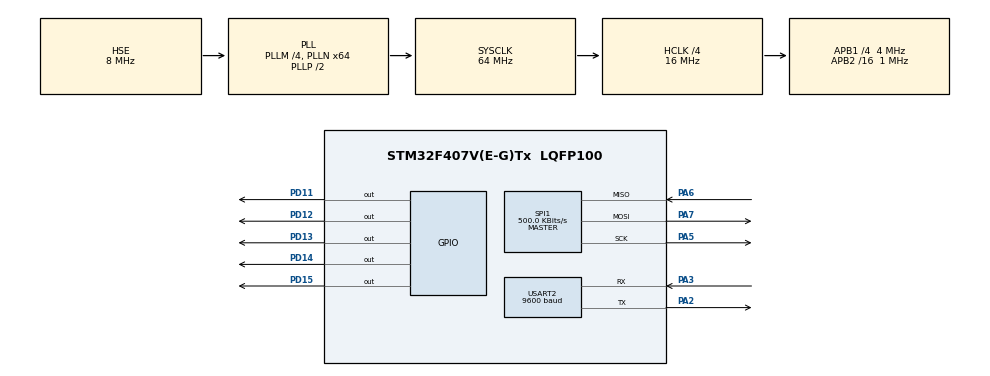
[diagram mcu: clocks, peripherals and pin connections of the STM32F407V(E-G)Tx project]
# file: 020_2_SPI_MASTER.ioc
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Mcu.Family=STM32F4
RCC.PLLSourceVirtual=RCC_PLLSOURCE_HSE
PA6.Mode=Full_Duplex_Master
PH0-OSC_IN.Signal=RCC_OSC_IN
RCC.CortexFreq_Value=16000000
PA7.Mode=Full_Duplex_Master
SPI1.VirtualType=VM_MASTER
RCC.APB1CLKDivider=RCC_HCLK_DIV4
NVIC.USART2_IRQn=true\:0\:0\:false\:false\:true\:true\:true
USART2.BaudRate=9600
RCC.SYSCLKSource=RCC_SYSCLKSOURCE_PLLCLK
ProjectManager.StackSize=0x400
PD13.Signal=GPIO_Output
PA3.Mode=Asynchronous
SPI1.CLKPolarity=SPI_POLARITY_HIGH
ProjectManager.TargetToolchain=STM32CubeIDE
SPI1.Direction=SPI_DIRECTION_2LINES
RCC.HCLKFreq_Value=16000000
RCC.APB2TimFreq_Value=2000000
SPI1.CalculateBaudRate=500.0 KBits/s
RCC.LSE_VALUE=32768
RCC.AHBFreq_Value=16000000
PH0-OSC_IN.Mode=HSE-External-Oscillator
PA5.Signal=SPI1_SCK
RCC.HSE_VALUE=8000000
board=custom
RCC.VCOOutputFreq_Value=128000000
RCC.APB2Freq_Value=1000000
SPI1.Mode=SPI_MODE_MASTER
PH1-OSC_OUT.Signal=RCC_OSC_OUT
RCC.AHBCLKDivider=RCC_SYSCLK_DIV4
Mcu.Name=STM32F407V(E-G)Tx
PA2.Signal=USART2_TX
PD14.Signal=GPIO_Output
PH1-OSC_OUT.Mode=HSE-External-Oscillator
RCC.48MHZClocksFreq_Value=32000000
RCC.SYSCLKFreq_VALUE=64000000
Mcu.Package=LQFP100
PA6.Signal=SPI1_MISO
USART2.VirtualMode=VM_ASYNC
PD11.Signal=GPIO_Output
PD12.Signal=GPIO_Output
ProjectManager.HeapSize=0x200
RCC.HSI_VALUE=16000000
NVIC.PriorityGroup=NVIC_PRIORITYGROUP_4
RCC.APB2CLKDivider=RCC_HCLK_DIV16
RCC.PLLM=4
RCC.PLLN=64
RCC.APB1TimFreq_Value=8000000
PA2.Mode=Asynchronous
RCC.APB1Freq_Value=4000000
PD15.Signal=GPIO_Output
PA3.Signal=USART2_RX
PA5.Mode=Full_Duplex_Master
PA7.Signal=SPI1_MOSI

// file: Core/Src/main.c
/* USER CODE BEGIN Header */
/**
  ******************************************************************************
  * @file           : main.c
  * @brief          : Main program body
  ******************************************************************************
  * @attention
  *
  * <h2><center>&copy; Copyright (c) 2021 STMicroelectronics.
  * All rights reserved.</center></h2>
  *
  * This software component is licensed by ST under BSD 3-Clause license,
  * the "License"; You may not use this file except in compliance with the
  * License. You may obtain a copy of the License at:
  *                        opensource.org/licenses/BSD-3-Clause
  *
  ******************************************************************************
  */
/* USER CODE END Header */
#include "main.h"

SPI_HandleTypeDef hspi1;

UART_HandleTypeDef huart2;

void SystemClock_Config(void);
static void MX_GPIO_Init(void);
static void MX_USART2_UART_Init(void);
static void MX_SPI1_Init(void);
/* USER CODE BEGIN PFP */

	uint8_t  uartTxBuffer[] = "\r\n iki kart haberlesmesi polling mode\r\n ";
	uint8_t  aTxBuffer[] = "SPI MASTER ILETIM: MASTERDAN SLAVE' E MESAJ";
	uint8_t  aRxBuffer[43]= {0};

/* USER CODE END PFP */

int main(void)
{

  /* MCU Configuration--------------------------------------------------------*/

  /* Reset of all peripherals, Initializes the Flash interface and the Systick. */
  HAL_Init();

  /* Configure the system clock */
  SystemClock_Config();

  /* Initialize all configured peripherals */
  MX_GPIO_Init();
  MX_USART2_UART_Init();
  MX_SPI1_Init();
  /* USER CODE BEGIN 2 */
  if(HAL_UART_Transmit(&huart2, (uint8_t*)uartTxBuffer, 55, 5000)!= HAL_OK)
  {
	  Error_Handler();
  }

  for(volatile uint8_t i=0; i<16;i++)
  {
	  HAL_GPIO_TogglePin(GPIOD, GPIO_PIN_12);
	  HAL_GPIO_TogglePin(GPIOD, GPIO_PIN_13);
	  HAL_Delay(100);

  }
  HAL_GPIO_WritePin(GPIOD, GPIO_PIN_12, RESET);
  HAL_GPIO_WritePin(GPIOD, GPIO_PIN_13 , RESET);

 // __HAL_SPI_ENABLE(&hspi1);

//  switch(HAL_SPI_TransmitReceive(&hspi1, (uint8_t *)aTxBuffer, (uint8_t *)aRxBuffer, 43, 5000))
  switch(HAL_SPI_Receive(&hspi1, (uint8_t *)aRxBuffer, 43, 5000))
  {
  case HAL_OK:
	  HAL_GPIO_WritePin(GPIOD, GPIO_PIN_12, SET);
	  break;
  case HAL_ERROR:
	  HAL_GPIO_WritePin(GPIOD, GPIO_PIN_13, SET);
	  break;
  case HAL_TIMEOUT:
	  HAL_GPIO_WritePin(GPIOD, GPIO_PIN_13, SET);
	  break;
  default:
	  break;
  }

  /* USER CODE END 2 */

  /* Infinite loop */
  while (1)
  {

    /* USER CODE BEGIN 3 */
	  while(HAL_SPI_GetState(&hspi1) != HAL_SPI_STATE_READY);
	  switch(HAL_SPI_TransmitReceive(&hspi1, (uint8_t *)aTxBuffer, (uint8_t *)aRxBuffer, 43, 5000))
	  {
	  case HAL_OK:
		  while(HAL_UART_GetState(&huart2) != HAL_UART_STATE_READY);
		  if(HAL_UART_Transmit(&huart2, (uint8_t*)aRxBuffer, 43, 5000)!= HAL_OK)
		  {
			  Error_Handler();
		  }
		  HAL_GPIO_WritePin(GPIOD, GPIO_PIN_12, SET);
		  HAL_GPIO_WritePin(GPIOD, GPIO_PIN_13, SET);
		  HAL_GPIO_WritePin(GPIOD, GPIO_PIN_14, SET);
		  HAL_GPIO_WritePin(GPIOD, GPIO_PIN_15, SET);
		  break;
	  case HAL_ERROR:
		  HAL_GPIO_WritePin(GPIOD, GPIO_PIN_12, SET);
		  break;
	  case HAL_TIMEOUT:
		  HAL_GPIO_WritePin(GPIOD, GPIO_PIN_13, SET);
		  break;
	  default:
		  break;
	  }

  }
  /* USER CODE END 3 */
}

void SystemClock_Config(void)
{
  RCC_OscInitTypeDef RCC_OscInitStruct = {0};
  RCC_ClkInitTypeDef RCC_ClkInitStruct = {0};

  /** Configure the main internal regulator output voltage
  */
  __HAL_RCC_PWR_CLK_ENABLE();
  __HAL_PWR_VOLTAGESCALING_CONFIG(PWR_REGULATOR_VOLTAGE_SCALE1);
  /** Initializes the RCC Oscillators according to the specified parameters
  * in the RCC_OscInitTypeDef structure.
  */
  RCC_OscInitStruct.OscillatorType = RCC_OSCILLATORTYPE_HSE;
  RCC_OscInitStruct.HSEState = RCC_HSE_ON;
  RCC_OscInitStruct.PLL.PLLState = RCC_PLL_ON;
  RCC_OscInitStruct.PLL.PLLSource = RCC_PLLSOURCE_HSE;
  RCC_OscInitStruct.PLL.PLLM = 4;
  RCC_OscInitStruct.PLL.PLLN = 64;
  RCC_OscInitStruct.PLL.PLLP = RCC_PLLP_DIV2;
  RCC_OscInitStruct.PLL.PLLQ = 4;
  if (HAL_RCC_OscConfig(&RCC_OscInitStruct) != HAL_OK)
  {
    Error_Handler();
  }
  /** Initializes the CPU, AHB and APB buses clocks
  */
  RCC_ClkInitStruct.ClockType = RCC_CLOCKTYPE_HCLK|RCC_CLOCKTYPE_SYSCLK
                              |RCC_CLOCKTYPE_PCLK1|RCC_CLOCKTYPE_PCLK2;
  RCC_ClkInitStruct.SYSCLKSource = RCC_SYSCLKSOURCE_PLLCLK;
  RCC_ClkInitStruct.AHBCLKDivider = RCC_SYSCLK_DIV4;
  RCC_ClkInitStruct.APB1CLKDivider = RCC_HCLK_DIV4;
  RCC_ClkInitStruct.APB2CLKDivider = RCC_HCLK_DIV16;

  if (HAL_RCC_ClockConfig(&RCC_ClkInitStruct, FLASH_LATENCY_0) != HAL_OK)
  {
    Error_Handler();
  }
}

static void MX_SPI1_Init(void)
{

  /* SPI1 parameter configuration*/
  hspi1.Instance = SPI1;
  hspi1.Init.Mode = SPI_MODE_MASTER;
  hspi1.Init.Direction = SPI_DIRECTION_2LINES;
  hspi1.Init.DataSize = SPI_DATASIZE_8BIT;
  hspi1.Init.CLKPolarity = SPI_POLARITY_HIGH;
  hspi1.Init.CLKPhase = SPI_PHASE_1EDGE;
  hspi1.Init.NSS = SPI_NSS_SOFT;
  hspi1.Init.BaudRatePrescaler = SPI_BAUDRATEPRESCALER_2;
  hspi1.Init.FirstBit = SPI_FIRSTBIT_MSB;
  hspi1.Init.TIMode = SPI_TIMODE_DISABLE;
  hspi1.Init.CRCCalculation = SPI_CRCCALCULATION_DISABLE;
  hspi1.Init.CRCPolynomial = 10;
  if (HAL_SPI_Init(&hspi1) != HAL_OK)
  {
    Error_Handler();
  }

}

static void MX_USART2_UART_Init(void)
{

  huart2.Instance = USART2;
  huart2.Init.BaudRate = 9600;
  huart2.Init.WordLength = UART_WORDLENGTH_8B;
  huart2.Init.StopBits = UART_STOPBITS_1;
  huart2.Init.Parity = UART_PARITY_NONE;
  huart2.Init.Mode = UART_MODE_TX_RX;
  huart2.Init.HwFlowCtl = UART_HWCONTROL_NONE;
  huart2.Init.OverSampling = UART_OVERSAMPLING_16;
  if (HAL_UART_Init(&huart2) != HAL_OK)
  {
    Error_Handler();
  }

}

static void MX_GPIO_Init(void)
{
  GPIO_InitTypeDef GPIO_InitStruct = {0};

  /* GPIO Ports Clock Enable */
  __HAL_RCC_GPIOH_CLK_ENABLE();
  __HAL_RCC_GPIOA_CLK_ENABLE();
  __HAL_RCC_GPIOD_CLK_ENABLE();

  /*Configure GPIO pin Output Level */
  HAL_GPIO_WritePin(GPIOD, GPIO_PIN_11|GPIO_PIN_12|GPIO_PIN_13|GPIO_PIN_14
                          |GPIO_PIN_15, GPIO_PIN_RESET);

  /*Configure GPIO pins : PD11 PD12 PD13 PD14
                           PD15 */
  GPIO_InitStruct.Pin = GPIO_PIN_11|GPIO_PIN_12|GPIO_PIN_13|GPIO_PIN_14
                          |GPIO_PIN_15;
  GPIO_InitStruct.Mode = GPIO_MODE_OUTPUT_PP;
  GPIO_InitStruct.Pull = GPIO_NOPULL;
  GPIO_InitStruct.Speed = GPIO_SPEED_FREQ_LOW;
  HAL_GPIO_Init(GPIOD, &GPIO_InitStruct);

}

void Error_Handler(void)
{
  __disable_irq();
  while (1)
  {
  }
}

/************************ (C) COPYRIGHT STMicroelectronics *****END OF FILE****/
